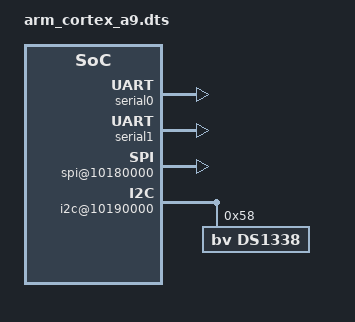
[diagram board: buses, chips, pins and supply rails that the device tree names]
/dts-v1/;

/ {
    compatible = "BV, Yellow's BV";
    #address-cells = <1>;
    #size-cells = <1>;

    cpus {
        #address-cells = <1>;
        #size-cells = <0>;

        cpu@0 {
            compatible = "arm,cortex-a9";
            reg = <0>;
        };

        cpu@1 {
            compatible = "arm,cortex-a9";
            reg = <1>;
        };        
    };

    aliases {
        serial0 = &serial0;
        serial1 = &serial1;
        gpio0 = &gpio0;
    };

    serial0: serial@101B1000 {
        compatible = "arm,bv011";
        reg = <0x101B1000   0x1000>;
    };
    
    serial1: serial@101B2000 {
        compatible = "arm,bv011";
        reg = <0x101B2000   0x1000>;
    };

    gpio0: gpio@101B3000 {
        compatible = "arm,bv061";
        reg = <0x101B3000   0x1000>;
    };

    spi@10180000 {
        compatible = "arm,bv022";
        reg = <0x10180000   0x1000>;
    };

    i2c@10190000 {
        compatible = "bv,bv-i2c-bus";
		#address-cells = <1>;
		#size-cells = <0>;
		reg = <0x10190000 0x0>;

        ds1338@58 {
            compatible = "bv,ds1338";
            reg = <0x58>;
        };
    };

    chosen {
        bootargs = "ignore_loglevel rw root=/dev/nfs ip=on";
        stdout-path = "serial0:115200n8";
    };    
};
